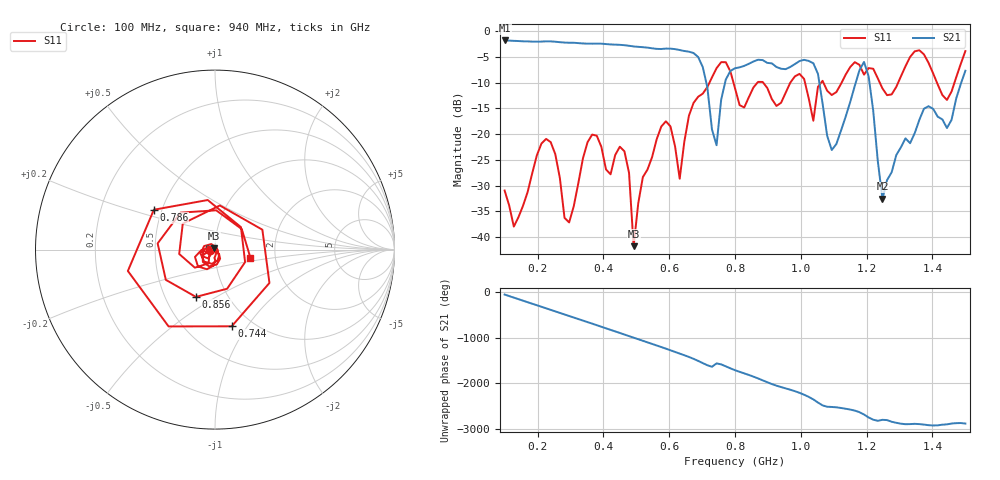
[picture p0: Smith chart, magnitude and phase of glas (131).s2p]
! NanoVNA-App
! Date: 2025-09-25 15:56:29
! Start: 100MHz Stop: 1,5GHz Points: 101
! S-Parameter data: F S11 S21 S12 S22
# Hz S RI R 50
!  Frequency  S11_Real  S11_Imag  S21_Real  S21_Imag  S12_Real  S12_Imag  S22_Real  S22_Imag
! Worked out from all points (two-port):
!   101 points, 100 MHz to 1.5 GHz, reference 50 ohm
!   highest |S21| = -1.80 dB at 100 MHz (marker M1); lowest = -32.6 dB at 1.248 GHz (marker M2)
!   |S21| within 3 dB of the highest: start of sweep to 684.2 MHz
!   lowest |S11| = -41.8 dB at 492 MHz (marker M3), VSWR 1.02, Z = 49.5 + j0.625 ohm
!   |S11| at or under -10 dB: start of sweep to 722.4 MHz; 795.4 MHz to 868.1 MHz (72.71 MHz wide, 8.74 % of centre); 885.7 MHz to 968 MHz (82.26 MHz wide, 8.87 % of centre) (the widest 3 of 7)
!   S12 and S22 are empty: the file has one direction only
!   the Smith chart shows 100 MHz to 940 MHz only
!   S11 on the Smith chart (normalised r, x): 100 MHz: 0.95, -0.01; 744 MHz: 0.80, -0.85; 786 MHz: 0.45, +0.24; 856 MHz: 0.71, -0.41; 940 MHz: 1.48, -0.14
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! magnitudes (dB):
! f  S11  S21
! 100 MHz  -31.0  -1.8
! 128 MHz  -38.0  -1.9
! 226 MHz  -20.9  -2.0
! 296 MHz  -37.1  -2.2
! 338 MHz  -24.7  -2.4
! 464 MHz  -23.3  -2.7
! 492 MHz  -41.8  -3.0
! 576 MHz  -18.5  -3.5
! 632 MHz  -28.7  -3.7
! 702 MHz  -12.1  -7.0
! 744 MHz  -7.2  -22.2
! 786 MHz  -7.8  -7.7
! 800 MHz  -11.1  -7.2
! 856 MHz  -10.9  -5.9
! 940 MHz  -13.9  -7.3
! 996 MHz  -8.3  -5.8
! 1.038 GHz  -17.4  -6.2
! 1.094 GHz  -12.4  -23.1
! 1.192 GHz  -8.4  -6.0
! 1.248 GHz  -11.1  -32.6
! 1.276 GHz  -12.3  -27.4
! 1.5 GHz  -3.9  -7.7
